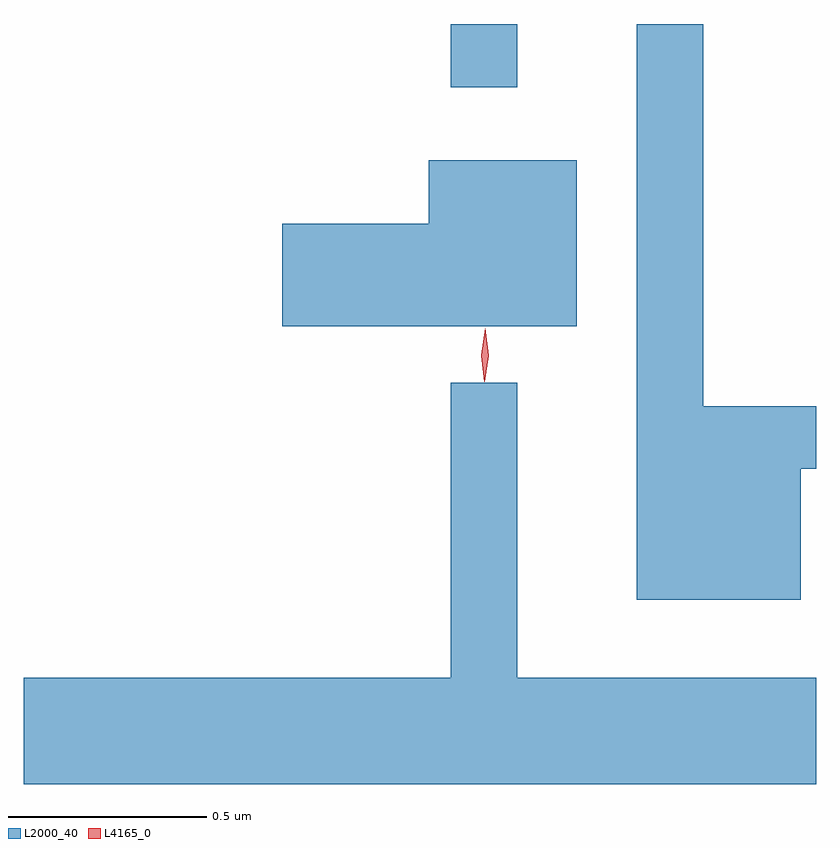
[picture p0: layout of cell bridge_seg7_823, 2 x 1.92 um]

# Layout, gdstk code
import gdstk
lib = gdstk.Library(unit=1e-6, precision=1e-09)
def R(c, l, rs):  # rectangles x0, y0, x1, y1
    for r in rs: c.add(gdstk.rectangle(r[:2], r[2:], *l))
def P(c, l, *ps):  # polygons
    for p in ps: c.add(gdstk.Polygon(p, *l))
L2000_40 = (2000, 40)
L4165_0 = (4165, 0)

bridge_seg7_823 = lib.new_cell('bridge_seg7_823')
R(bridge_seg7_823, L2000_40, [(298.601,1804.873,298.769,1805.033)])
P(bridge_seg7_823, L2000_40, [(299.484,1803.911),(299.524,1803.911),(299.524,1804.069),(299.239,1804.069),(299.239,1805.033),(299.071,1805.033),(299.071,1803.581),(299.484,1803.581)],
  [(298.919,1804.689),(298.546,1804.689),(298.546,1804.529),(298.176,1804.529),(298.176,1804.271),(298.919,1804.271)],
  [(299.524,1803.384),(298.769,1803.384),(298.769,1804.128),(298.601,1804.128),(298.601,1803.384),(297.524,1803.384),(297.524,1803.116),(299.524,1803.116)])
P(bridge_seg7_823, L4165_0, [(298.687,1804.133),(298.686,1804.134),(298.678,1804.196),(298.688,1804.259),(298.689,1804.26),(298.689,1804.259),(298.698,1804.196),(298.687,1804.134)],
  [(298.686,1804.13),(298.678,1804.198),(298.688,1804.265),(298.688,1804.266),(298.689,1804.265),(298.698,1804.198),(298.687,1804.13),(298.687,1804.13)])

lib.write_gds('bridge_seg7_823.gds')
